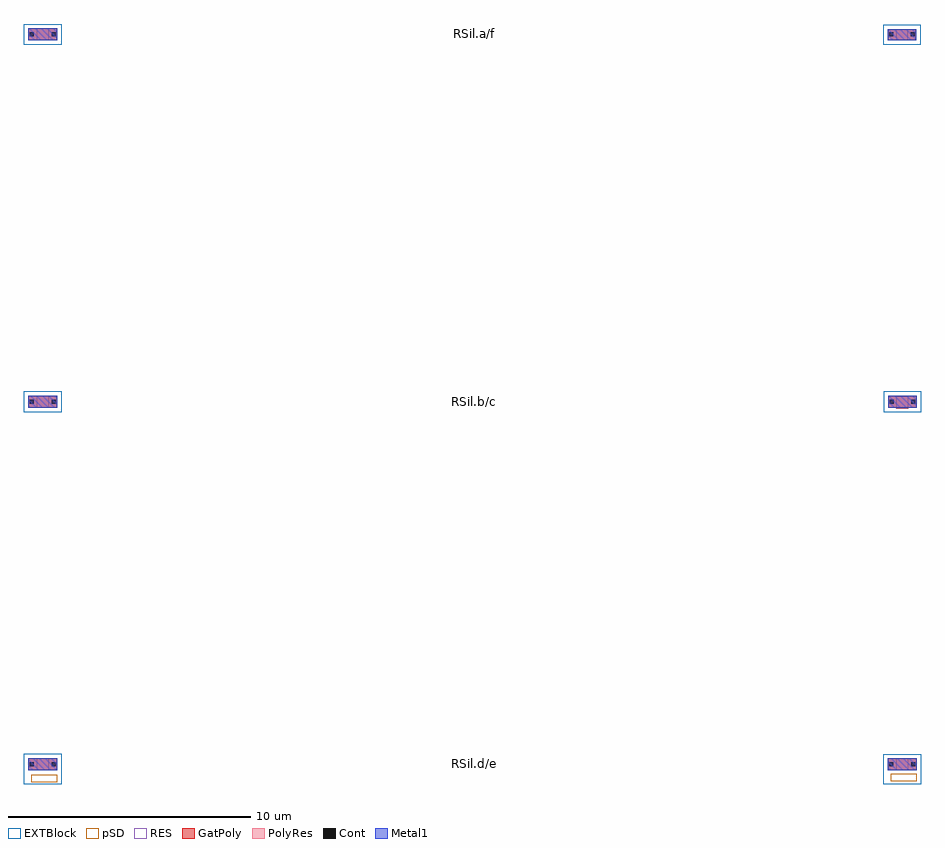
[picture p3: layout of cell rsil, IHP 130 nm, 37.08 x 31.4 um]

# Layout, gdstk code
import gdstk
lib = gdstk.Library(unit=1e-6, precision=1e-09)
def R(c, l, rs):  # rectangles x0, y0, x1, y1
    for r in rs: c.add(gdstk.rectangle(r[:2], r[2:], *l))
GatPoly = (5, 0)
Cont = (6, 0)
Metal1 = (8, 0)
pSD = (14, 0)
RES = (24, 0)
EXTBlock = (111, 0)
PolyRes = (128, 0)

rsil_fail = lib.new_cell('rsil_fail')
R(rsil_fail, GatPoly, [(17.06,-37.6,18.26,-37.1), (17.08,-22.63,18.26,-22.13), (17.06,-7.45,18.235,-6.98)])
R(rsil_fail, Cont, [(17.13,-37.43,17.29,-37.27), (18.03,-37.43,18.19,-37.27), (17.15,-22.46,17.31,-22.3), (18.03,-22.46,18.19,-22.3), (17.13,-7.28,17.29,-7.12), (18.005,-7.28,18.165,-7.12)])
R(rsil_fail, Metal1, [(17.06,-37.6,18.26,-37.1), (17.08,-22.63,18.26,-22.13), (17.06,-7.45,18.235,-6.98)])
R(rsil_fail, pSD, [(17.18,-38.06,18.26,-37.75)])
R(rsil_fail, RES, [(17.41,-37.6,17.91,-37.1), (17.41,-22.66,17.91,-22.15), (17.41,-7.45,17.885,-6.98)])
R(rsil_fail, EXTBlock, [(16.88,-38.17,18.44,-36.945), (16.9,-22.81,18.44,-21.95), (16.88,-7.63,18.415,-6.8)])
R(rsil_fail, PolyRes, [(17.41,-37.6,17.91,-37.1), (17.41,-22.66,17.91,-22.15), (17.41,-7.45,17.885,-6.98)])

rsil_pass = lib.new_cell('rsil_pass')
R(rsil_pass, GatPoly, [(-18.455,-37.6,-17.255,-37.1), (-18.455,-22.63,-17.255,-22.13), (-18.455,-7.45,-17.255,-6.95)])
R(rsil_pass, Cont, [(-18.385,-37.43,-18.225,-37.27), (-17.485,-37.43,-17.325,-37.27), (-18.385,-22.46,-18.225,-22.3), (-17.485,-22.46,-17.325,-22.3), (-18.385,-7.28,-18.225,-7.12), (-17.485,-7.28,-17.325,-7.12)])
R(rsil_pass, Metal1, [(-18.455,-37.6,-17.255,-37.1), (-18.455,-22.63,-17.255,-22.13), (-18.455,-7.45,-17.255,-6.95)])
R(rsil_pass, pSD, [(-18.335,-38.09,-17.255,-37.78)])
R(rsil_pass, RES, [(-18.105,-37.6,-17.605,-37.1), (-18.105,-22.63,-17.605,-22.13), (-18.105,-7.45,-17.605,-6.95)])
R(rsil_pass, EXTBlock, [(-18.635,-38.17,-17.075,-36.92), (-18.635,-22.81,-17.075,-21.95), (-18.635,-7.63,-17.075,-6.77)])
R(rsil_pass, PolyRes, [(-18.105,-37.6,-17.605,-37.1), (-18.105,-22.63,-17.605,-22.13), (-18.105,-7.45,-17.605,-6.95)])

rsil = lib.new_cell('rsil')
rsil.add(gdstk.Reference(rsil_fail, (0,0)))
rsil.add(gdstk.Reference(rsil_pass, (0,0)))
rsil.add(gdstk.Label('FAIL', (12,5), layer=63, texttype=0))
rsil.add(gdstk.Label('PASS', (-12,5), layer=63, texttype=0))
rsil.add(gdstk.Label('RSil.d/e', (0,-37.32), layer=63, texttype=0))
rsil.add(gdstk.Label('RSil.b/c', (0,-22.35), layer=63, texttype=0))
rsil.add(gdstk.Label('RSil.a/f', (0,-7.17), layer=63, texttype=0))
rsil.add(gdstk.Label('6.4_RSil', (0,21), layer=63, texttype=0))

lib.write_gds('rsil.gds')
